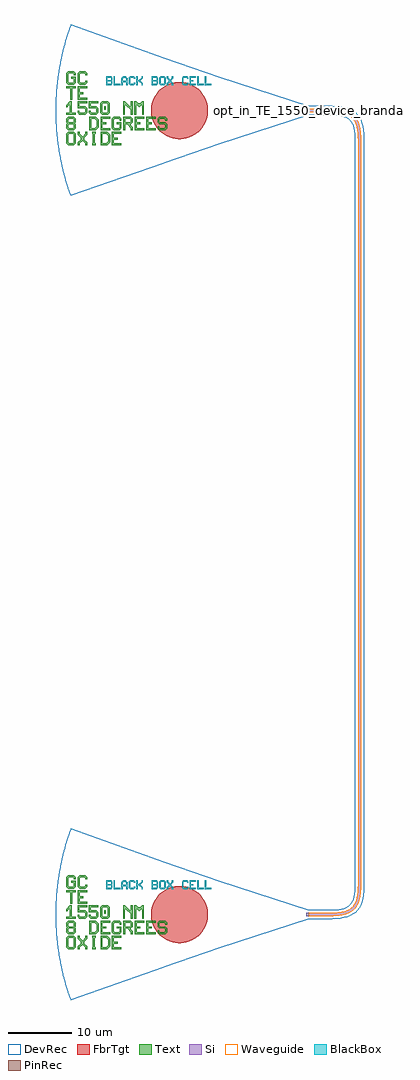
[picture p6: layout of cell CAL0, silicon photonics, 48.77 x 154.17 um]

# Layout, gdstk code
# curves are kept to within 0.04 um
import gdstk
lib = gdstk.Library(unit=1e-6, precision=1e-09)
def R(c, l, rs):  # rectangles x0, y0, x1, y1
    for r in rs: c.add(gdstk.rectangle(r[:2], r[2:], *l))
def P(c, l, *ps):  # polygons
    for p in ps: c.add(gdstk.Polygon(p, *l))
Si = (1, 0)
PinRec = (1, 10)
Waveguide = (1, 99)
Text = (10, 0)
DevRec = (68, 0)
FbrTgt = (81, 0)
BlackBox = (998, 0)

waveguide_6 = lib.new_cell('Waveguide$6')
P(waveguide_6, Si, [(-262.4,-190.66),(-262.4,-190.16),(-257.963,-190.106),(-256.869,-189.931),(-255.948,-189.562),(-255.383,-189.077),(-254.943,-188.274),(-254.711,-187.299),(-254.608,-186.041),(-254.609,-67.778),(-254.737,-66.365),(-254.989,-65.428),(-255.384,-64.742),(-255.682,-64.444),(-256.046,-64.2),(-256.87,-63.888),(-257.964,-63.713),(-262.4,-63.66),(-262.4,-63.16),(-258.702,-63.169),(-257.386,-63.278),(-256.456,-63.487),(-255.689,-63.829),(-255.172,-64.233),(-254.769,-64.749),(-254.427,-65.516),(-254.218,-66.446),(-254.109,-67.762),(-254.108,-186.057),(-254.244,-187.54),(-254.579,-188.707),(-255.082,-189.492),(-255.805,-190.057),(-256.745,-190.415),(-257.917,-190.604)])
P(waveguide_6, Waveguide, [(-262.4,-190.66),(-262.4,-190.16),(-257.963,-190.106),(-256.869,-189.931),(-255.948,-189.562),(-255.383,-189.077),(-254.943,-188.274),(-254.711,-187.299),(-254.608,-186.041),(-254.609,-67.778),(-254.737,-66.365),(-254.989,-65.428),(-255.384,-64.742),(-255.682,-64.444),(-256.046,-64.2),(-256.87,-63.888),(-257.964,-63.713),(-262.4,-63.66),(-262.4,-63.16),(-258.702,-63.169),(-257.386,-63.278),(-256.456,-63.487),(-255.689,-63.829),(-255.172,-64.233),(-254.769,-64.749),(-254.427,-65.516),(-254.218,-66.446),(-254.109,-67.762),(-254.108,-186.057),(-254.244,-187.54),(-254.579,-188.707),(-255.082,-189.492),(-255.805,-190.057),(-256.745,-190.415),(-257.917,-190.604)])
P(waveguide_6, DevRec, [(-262.4,-191.16),(-262.4,-189.66),(-258.118,-189.617),(-257.155,-189.484),(-256.19,-189.124),(-255.973,-188.967),(-255.634,-188.568),(-255.374,-187.985),(-255.196,-187.154),(-255.109,-186.059),(-255.099,-68.41),(-255.142,-67.179),(-255.275,-66.216),(-255.495,-65.514),(-255.792,-65.034),(-255.974,-64.852),(-256.454,-64.555),(-257.156,-64.335),(-258.119,-64.202),(-262.4,-64.16),(-262.4,-62.66),(-258.648,-62.67),(-257.397,-62.771),(-256.322,-63.005),(-255.399,-63.421),(-255,-63.712),(-254.361,-64.459),(-253.945,-65.382),(-253.711,-66.457),(-253.61,-67.708),(-253.609,-186.111),(-253.808,-187.919),(-254.126,-188.919),(-254.651,-189.759),(-255.398,-190.398),(-256.321,-190.814),(-257.396,-191.048),(-258.647,-191.149)])
waveguide_6.add(gdstk.FlexPath([(-262.39,-63.41),(-262.41,-63.41)], 0.5, ends="flush", simple_path=True, layer=1, datatype=10))  # PinRec
waveguide_6.add(gdstk.FlexPath([(-262.39,-190.41),(-262.41,-190.41)], 0.5, ends="flush", simple_path=True, layer=1, datatype=10))  # PinRec
waveguide_6.add(gdstk.Label('opt1', (-262.4,-63.41), layer=1, texttype=10))
waveguide_6.add(gdstk.Label('opt2', (-262.4,-190.41), layer=1, texttype=10))
waveguide_6.add(gdstk.Label('Lumerical_INTERCONNECT_library=Design kits/EBeam', (-262.4,-63.51), layer=68, texttype=0))
waveguide_6.add(gdstk.Label('Component=ebeam_wg_integral_1550', (-262.4,-63.31), layer=68, texttype=0))
waveguide_6.add(gdstk.Label('cellName=Waveguide', (-262.4,-63.21), layer=68, texttype=0))
waveguide_6.add(gdstk.Label('Spice_param:wg_length=0.000139999 wg_width=5e-07 points="[[-262.4,-63.41],[-254.349,-63.41],[-254.349,-190.41],[-262.4,-190.41]]" radius=5e-06', (-262.4,-63.41), layer=68, texttype=0))
waveguide_6.add(gdstk.Label('Length=139.999 (microns)', (-262.4,-64.01), layer=68, texttype=0))
waveguide_6.add(gdstk.Label('waveguide_type=Strip TE 1550 nm, w=500 nm', (-262.4,-63.61), layer=68, texttype=0))

text = lib.new_cell('TEXT')
P(text, BlackBox, [(0,0),(0,1.4),(0.8,1.4),(1,1.2),(0.2,1.2),(0.2,0.8),(0.7,0.8),(0.8,0.9),(0.8,1.1),(0.7,1.2),(1,1.2),(1,0.8),(0.9,0.7),(1,0.6),(0.2,0.6),(0.2,0.2),(0.7,0.2),(0.8,0.3),(0.8,0.5),(0.7,0.6),(1,0.6),(1,0.2),(0.8,0)],
  [(1.2,0),(1.2,1.4),(1.4,1.4),(1.4,0.2),(2.2,0.2),(2.2,0)],
  [(2.4,0),(2.4,1.1),(2.7,1.4),(3.1,1.4),(3.3,1.2),(2.8,1.2),(2.6,1),(2.6,0.7),(3.2,0.7),(3.2,1),(3,1.2),(3.3,1.2),(3.4,1.1),(3.4,0),(3.2,0),(3.2,0.5),(2.6,0.5),(2.6,0)],
  [(3.8,0),(3.6,0.2),(3.6,1.2),(3.8,1.4),(4.4,1.4),(4.6,1.2),(4.6,1),(4.4,1),(4.4,1.1),(4.3,1.2),(3.9,1.2),(3.8,1.1),(3.8,0.3),(3.9,0.2),(4.3,0.2),(4.4,0.3),(4.4,0.4),(4.6,0.4),(4.6,0.2),(4.4,0)],
  [(4.8,0),(4.8,1.4),(5,1.4),(5,0.8),(5.2,0.8),(5.6,1.2),(5.6,1.4),(5.8,1.4),(5.8,1.1),(5.4,0.7),(5.8,0.3),(5.8,0),(5.6,0),(5.6,0.2),(5.2,0.6),(5,0.6),(5,0)],
  [(7.2,0),(7.2,1.4),(8,1.4),(8.2,1.2),(7.4,1.2),(7.4,0.8),(7.9,0.8),(8,0.9),(8,1.1),(7.9,1.2),(8.2,1.2),(8.2,0.8),(8.1,0.7),(8.2,0.6),(7.4,0.6),(7.4,0.2),(7.9,0.2),(8,0.3),(8,0.5),(7.9,0.6),(8.2,0.6),(8.2,0.2),(8,0)],
  [(8.6,0),(8.4,0.2),(8.4,1.2),(8.6,1.4),(9.2,1.4),(9.4,1.2),(9.4,0.7),(9.2,0.7),(9.2,1.1),(9.1,1.2),(8.7,1.2),(8.6,1.1),(8.6,0.3),(8.7,0.2),(9.1,0.2),(9.2,0.3),(9.2,0.7),(9.4,0.7),(9.4,0.2),(9.2,0)],
  [(9.6,0),(9.6,0.3),(9.9,0.6),(9.9,0.8),(9.6,1.1),(9.6,1.4),(9.8,1.4),(9.8,1.2),(10.1,0.9),(10.4,1.2),(10.4,1.4),(10.6,1.4),(10.6,1.1),(10.3,0.8),(10.3,0.6),(10.6,0.3),(10.6,0),(10.4,0),(10.4,0.2),(10.1,0.5),(9.8,0.2),(9.8,0)],
  [(12.2,0),(12,0.2),(12,1.2),(12.2,1.4),(12.8,1.4),(13,1.2),(13,1),(12.8,1),(12.8,1.1),(12.7,1.2),(12.3,1.2),(12.2,1.1),(12.2,0.3),(12.3,0.2),(12.7,0.2),(12.8,0.3),(12.8,0.4),(13,0.4),(13,0.2),(12.8,0)],
  [(13.2,0),(13.2,1.4),(14.2,1.4),(14.2,1.2),(13.4,1.2),(13.4,0.8),(13.8,0.8),(13.8,0.6),(13.4,0.6),(13.4,0.2),(14.2,0.2),(14.2,0)],
  [(14.4,0),(14.4,1.4),(14.6,1.4),(14.6,0.2),(15.4,0.2),(15.4,0)],
  [(15.6,0),(15.6,1.4),(15.8,1.4),(15.8,0.2),(16.6,0.2),(16.6,0)])

gc_te_1550_8degoxide_bb = lib.new_cell('GC_TE_1550_8degOxide_BB')
R(gc_te_1550_8degoxide_bb, Si, [(-0.4,-0.25,0,0.25)])
R(gc_te_1550_8degoxide_bb, Text, [(-32.313,0.092,-32.013,0.692)])
P(gc_te_1550_8degoxide_bb, Text, [(-37.67,1.71),(-37.67,3.51),(-38.27,3.51),(-38.27,3.81),(-36.77,3.81),(-36.77,3.51),(-37.37,3.51),(-37.37,1.71)],
  [(-37.97,-5.49),(-38.27,-5.19),(-38.27,-3.69),(-37.97,-3.39),(-37.07,-3.39),(-36.77,-3.69),(-36.77,-4.44),(-37.07,-4.44),(-37.07,-3.84),(-37.22,-3.69),(-37.82,-3.69),(-37.97,-3.84),(-37.97,-5.04),(-37.82,-5.19),(-37.22,-5.19),(-37.07,-5.04),(-37.07,-4.44),(-36.77,-4.44),(-36.77,-5.19),(-37.07,-5.49)],
  [(-31.07,-5.49),(-31.07,-3.39),(-29.57,-3.39),(-29.57,-3.69),(-30.77,-3.69),(-30.77,-4.29),(-30.17,-4.29),(-30.17,-4.59),(-30.77,-4.59),(-30.77,-5.19),(-29.57,-5.19),(-29.57,-5.49)],
  [(-32.87,-3.09),(-32.87,-0.99),(-31.37,-0.99),(-31.37,-1.29),(-32.57,-1.29),(-32.57,-1.89),(-31.97,-1.89),(-31.97,-2.19),(-32.57,-2.19),(-32.57,-2.79),(-31.37,-2.79),(-31.37,-3.09)],
  [(-27.47,-3.09),(-27.47,-0.99),(-25.97,-0.99),(-25.97,-1.29),(-27.17,-1.29),(-27.17,-1.89),(-26.57,-1.89),(-26.57,-2.19),(-27.17,-2.19),(-27.17,-2.79),(-25.97,-2.79),(-25.97,-3.09)],
  [(-25.67,-3.09),(-25.67,-0.99),(-24.17,-0.99),(-24.17,-1.29),(-25.37,-1.29),(-25.37,-1.89),(-24.77,-1.89),(-24.77,-2.19),(-25.37,-2.19),(-25.37,-2.79),(-24.17,-2.79),(-24.17,-3.09)],
  [(-36.47,1.71),(-36.47,3.81),(-34.97,3.81),(-34.97,3.51),(-36.17,3.51),(-36.17,2.91),(-35.57,2.91),(-35.57,2.61),(-36.17,2.61),(-36.17,2.01),(-34.97,2.01),(-34.97,1.71)],
  [(-29.313,-0.658),(-29.313,1.442),(-29.013,1.442),(-28.263,0.692),(-28.113,0.692),(-28.113,1.442),(-27.813,1.442),(-27.813,-0.658),(-28.113,-0.658),(-28.113,0.092),(-28.863,0.842),(-29.013,0.842),(-29.013,-0.658)],
  [(-34.22,-5.49),(-34.22,-5.19),(-34.07,-5.19),(-34.07,-3.69),(-34.22,-3.69),(-34.22,-3.39),(-33.62,-3.39),(-33.62,-3.69),(-33.77,-3.69),(-33.77,-5.19),(-33.62,-5.19),(-33.62,-5.49)],
  [(-36.17,4.11),(-36.47,4.41),(-36.47,5.91),(-36.17,6.21),(-35.27,6.21),(-34.97,5.91),(-34.97,5.61),(-35.27,5.61),(-35.27,5.76),(-35.42,5.91),(-36.02,5.91),(-36.17,5.76),(-36.17,4.56),(-36.02,4.41),(-35.42,4.41),(-35.27,4.56),(-35.27,4.71),(-34.97,4.71),(-34.97,4.41),(-35.27,4.11)],
  [(-27.513,-0.658),(-27.513,1.442),(-27.213,1.442),(-26.913,1.142),(-26.613,1.142),(-26.313,1.442),(-26.013,1.442),(-26.013,-0.658),(-26.313,-0.658),(-26.313,0.842),(-26.463,0.842),(-26.763,0.542),(-27.063,0.842),(-27.213,0.842),(-27.213,-0.658)],
  [(-32.613,-0.658),(-32.913,-0.358),(-32.913,1.142),(-32.613,1.442),(-31.713,1.442),(-31.413,1.142),(-32.463,1.142),(-32.613,0.992),(-32.613,-0.208),(-32.463,-0.358),(-31.863,-0.358),(-31.713,-0.208),(-31.713,0.992),(-31.863,1.142),(-31.413,1.142),(-31.413,-0.358),(-31.713,-0.658)],
  [(-32.87,-5.49),(-32.87,-3.39),(-31.82,-3.39),(-31.52,-3.69),(-32.57,-3.69),(-32.57,-5.19),(-31.97,-5.19),(-31.67,-4.89),(-31.67,-3.99),(-31.97,-3.69),(-31.52,-3.69),(-31.37,-3.84),(-31.37,-5.04),(-31.82,-5.49)],
  [(-34.67,-3.09),(-34.67,-0.99),(-33.62,-0.99),(-33.32,-1.29),(-34.37,-1.29),(-34.37,-2.79),(-33.77,-2.79),(-33.47,-2.49),(-33.47,-1.59),(-33.77,-1.29),(-33.32,-1.29),(-33.17,-1.44),(-33.17,-2.64),(-33.62,-3.09)],
  [(-23.57,-3.09),(-23.87,-2.79),(-23.87,-2.49),(-23.57,-2.49),(-23.57,-2.64),(-23.42,-2.79),(-22.82,-2.79),(-22.67,-2.64),(-22.67,-2.34),(-22.82,-2.19),(-23.57,-2.19),(-23.87,-1.89),(-23.87,-1.29),(-23.57,-0.99),(-22.67,-0.99),(-22.37,-1.29),(-22.37,-1.59),(-22.67,-1.59),(-22.67,-1.44),(-22.82,-1.29),(-23.42,-1.29),(-23.57,-1.44),(-23.57,-1.74),(-23.42,-1.89),(-22.67,-1.89),(-22.37,-2.19),(-22.37,-2.79),(-22.67,-3.09)],
  [(-36.213,-0.658),(-36.513,-0.358),(-36.513,-0.058),(-36.213,-0.058),(-36.213,-0.208),(-36.063,-0.358),(-35.463,-0.358),(-35.313,-0.208),(-35.313,0.242),(-35.463,0.392),(-36.513,0.392),(-36.513,1.442),(-35.013,1.442),(-35.013,1.142),(-36.213,1.142),(-36.213,0.692),(-35.313,0.692),(-35.013,0.392),(-35.013,-0.358),(-35.313,-0.658)],
  [(-34.413,-0.658),(-34.713,-0.358),(-34.713,-0.058),(-34.413,-0.058),(-34.413,-0.208),(-34.263,-0.358),(-33.663,-0.358),(-33.513,-0.208),(-33.513,0.242),(-33.663,0.392),(-34.713,0.392),(-34.713,1.442),(-33.213,1.442),(-33.213,1.142),(-34.413,1.142),(-34.413,0.692),(-33.513,0.692),(-33.213,0.392),(-33.213,-0.358),(-33.513,-0.658)],
  [(-37.97,-3.09),(-38.27,-2.79),(-38.27,-2.19),(-38.12,-2.04),(-38.27,-1.89),(-38.27,-1.29),(-37.97,-0.99),(-37.07,-0.99),(-36.77,-1.29),(-37.82,-1.29),(-37.97,-1.44),(-37.97,-1.74),(-37.82,-1.89),(-37.22,-1.89),(-37.07,-1.74),(-37.07,-1.44),(-37.22,-1.29),(-36.77,-1.29),(-36.77,-1.89),(-36.92,-2.04),(-36.77,-2.19),(-37.82,-2.19),(-37.97,-2.34),(-37.97,-2.64),(-37.82,-2.79),(-37.22,-2.79),(-37.07,-2.64),(-37.07,-2.34),(-37.22,-2.19),(-36.77,-2.19),(-36.77,-2.79),(-37.07,-3.09)],
  [(-38.313,-0.658),(-38.313,-0.358),(-37.713,-0.358),(-37.713,0.842),(-37.863,0.842),(-38.163,0.542),(-38.313,0.542),(-38.313,0.842),(-37.713,1.442),(-37.413,1.442),(-37.413,-0.358),(-36.813,-0.358),(-36.813,-0.658)],
  [(-36.47,-5.49),(-36.47,-5.04),(-36.02,-4.59),(-36.02,-4.29),(-36.47,-3.84),(-36.47,-3.39),(-36.17,-3.39),(-36.17,-3.69),(-35.72,-4.14),(-35.27,-3.69),(-35.27,-3.39),(-34.97,-3.39),(-34.97,-3.84),(-35.42,-4.29),(-35.42,-4.59),(-34.97,-5.04),(-34.97,-5.49),(-35.27,-5.49),(-35.27,-5.19),(-35.72,-4.74),(-36.17,-5.19),(-36.17,-5.49)],
  [(-30.77,-3.09),(-31.07,-2.79),(-31.07,-1.29),(-30.77,-0.99),(-29.87,-0.99),(-29.57,-1.29),(-29.57,-1.59),(-29.87,-1.59),(-29.87,-1.44),(-30.02,-1.29),(-30.62,-1.29),(-30.77,-1.44),(-30.77,-2.64),(-30.62,-2.79),(-30.02,-2.79),(-29.87,-2.64),(-29.87,-2.19),(-30.32,-2.19),(-30.32,-1.89),(-29.57,-1.89),(-29.57,-2.79),(-29.87,-3.09)],
  [(-37.97,4.11),(-38.27,4.41),(-38.27,5.91),(-37.97,6.21),(-37.07,6.21),(-36.77,5.91),(-36.77,5.61),(-37.07,5.61),(-37.07,5.76),(-37.22,5.91),(-37.82,5.91),(-37.97,5.76),(-37.97,4.56),(-37.82,4.41),(-37.22,4.41),(-37.07,4.56),(-37.07,5.01),(-37.52,5.01),(-37.52,5.31),(-36.77,5.31),(-36.77,4.41),(-37.07,4.11)],
  [(-29.27,-3.09),(-29.27,-0.99),(-28.07,-0.99),(-27.77,-1.29),(-28.97,-1.29),(-28.97,-1.89),(-28.22,-1.89),(-28.07,-1.74),(-28.07,-1.44),(-28.22,-1.29),(-27.77,-1.29),(-27.77,-1.89),(-28.07,-2.19),(-28.07,-2.34),(-27.77,-2.64),(-27.77,-3.09),(-28.07,-3.09),(-28.07,-2.79),(-28.67,-2.19),(-28.97,-2.19),(-28.97,-3.09)])
P(gc_te_1550_8degoxide_bb, DevRec, [(-37.607,-13.5),(-38.627,-10.245),(-39.378,-6.832),(-39.647,-5.058),(-39.835,-3.274),(-39.969,0.224),(-39.812,3.541),(-39.331,7.097),(-38.557,10.505),(-37.546,13.669),(-22.8,8.353),(-14.109,5.36),(0,0.75),(0,-0.75),(-14.109,-5.36)])
P(gc_te_1550_8degoxide_bb, FbrTgt, [(-20.621,-4.5),(-21.495,-4.37),(-22.326,-4.073),(-23.084,-3.619),(-23.738,-3.026),(-24.264,-2.316),(-24.642,-1.518),(-24.857,-0.661),(-24.9,0.221),(-24.77,1.095),(-24.473,1.926),(-24.019,2.684),(-23.426,3.338),(-22.716,3.864),(-21.918,4.242),(-21.061,4.457),(-20.179,4.5),(-19.305,4.37),(-18.474,4.073),(-17.716,3.619),(-17.062,3.026),(-16.536,2.316),(-16.158,1.518),(-15.943,0.661),(-15.9,-0.221),(-16.03,-1.095),(-16.327,-1.926),(-16.781,-2.684),(-17.374,-3.338),(-18.084,-3.864),(-18.882,-4.242),(-19.739,-4.457)])
gc_te_1550_8degoxide_bb.add(gdstk.FlexPath([(-0.01,0),(0.01,0)], 0.5, ends="flush", simple_path=True, layer=1, datatype=10))  # PinRec
gc_te_1550_8degoxide_bb.add(gdstk.Reference(text, (-32,4)))
gc_te_1550_8degoxide_bb.add(gdstk.Label('opt1', (0,0), layer=1, texttype=10))
gc_te_1550_8degoxide_bb.add(gdstk.Label('Lumerical_INTERCONNECT_library=Design kits/ebeam', (-29,-7), layer=68, texttype=0))
gc_te_1550_8degoxide_bb.add(gdstk.Label('Component=GC_TE_1550_8degOxide_BB', (-28,-5), layer=68, texttype=0))

cal0 = lib.new_cell('CAL0')
cal0.add(gdstk.Reference(waveguide_6, (302.369,203.91)))
cal0.add(gdstk.Reference(gc_te_1550_8degoxide_bb, (39.969,13.5)))
cal0.add(gdstk.Reference(gc_te_1550_8degoxide_bb, (39.969,140.5)))
cal0.add(gdstk.Label('opt_in_TE_1550_device_brandaofg_CAL0', (39.969,140.5), layer=10, texttype=0))

lib.write_gds('CAL0.gds')
